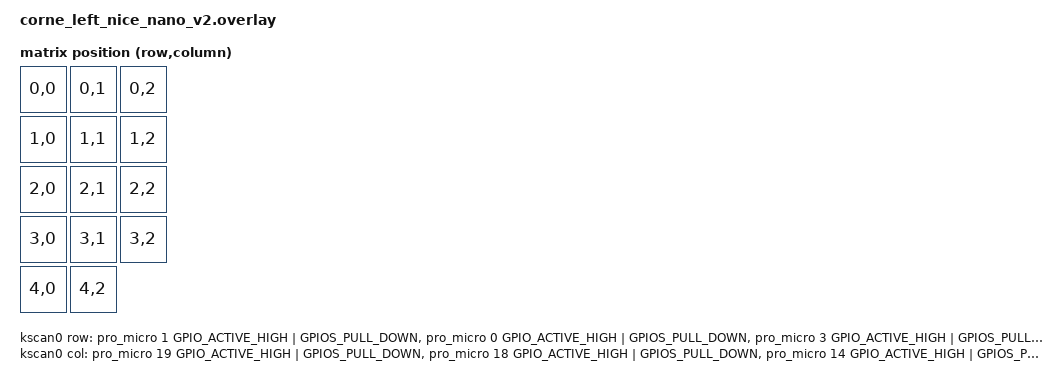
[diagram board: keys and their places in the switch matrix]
/*
 *  Corne Left - Nice!nano v2 pin override
 */

#include "board/shields/corne/corne.dtsi"


// Which pins are active, sectioned by row-column, diode move col2row
&kscan0 { 
    diode-direction = "col2row";
    row-gpios
        = <&pro_micro 1 GPIO_ACTIVE_HIGH | GPIOS_PULL_DOWN > // row 1
        , <&pro_micro 0 GPIO_ACTIVE_HIGH | GPIOS_PULL_DOWN > // row 2
        , <&pro_micro 3 GPIO_ACTIVE_HIGH | GPIOS_PULL_DOWN > // row 3
        , <&pro_micro 5 GPIO_ACTIVE_HIGH | GPIOS_PULL_DOWN > // row 4
        , <&pro_micro 7 GPIO_ACTIVE_HIGH | GPIOS_PULL_DOWN > // row 5
        ;
    col-gpios 
        = <&pro_micro 19 GPIO_ACTIVE_HIGH | GPIOS_PULL_DOWN > // column 1
        , <&pro_micro 18 GPIO_ACTIVE_HIGH | GPIOS_PULL_DOWN > // column 2
        , <&pro_micro 14 GPIO_ACTIVE_HIGH | GPIOS_PULL_DOWN > // column 3
        , <&pro_micro 21 GPIO_ACTIVE_HIGH | GPIOS_PULL_DOWN > // num led
        ;
};

// physical layout

&default_transform {
    compatible = "zmk,matrix-transform";
    columns = <3>;
    rows = <5>;
    map = <
        RC(0,0) RC(0,1) RC(0,2)
        RC(1,0) RC(1,1) RC(1,2)
        RC(2,0) RC(2,1) RC(2,2) 
        RC(3,0) RC(3,1) RC(3,2)
        RC(4,0) RC(4,2)
    >;
};
